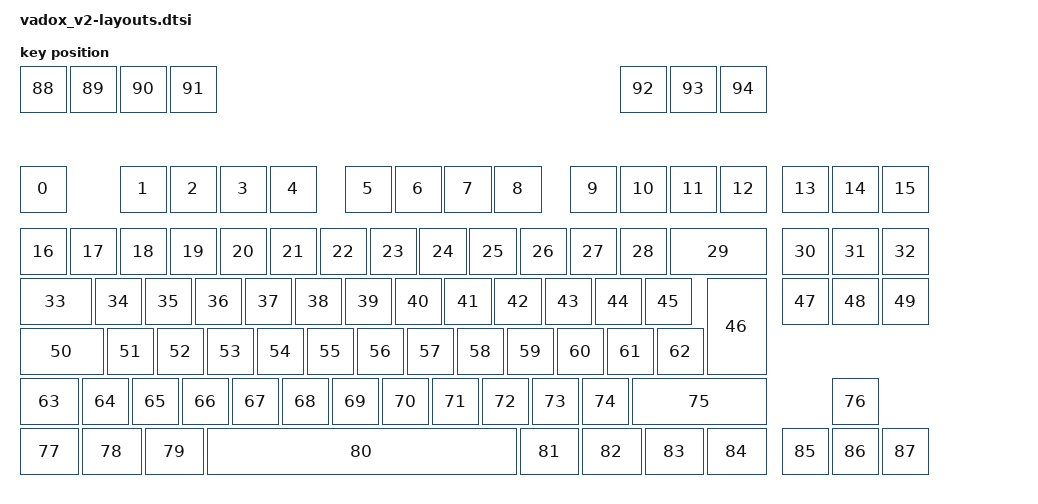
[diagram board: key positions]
#include <physical_layouts.dtsi>

/ {
    default_layout: default_layout {
        compatible = "zmk,physical-layout";
        display-name = "Default";
        transform = <&default_transform>;
        kscan = <&kscan0>;
        keys  //                     w   h    x    y     rot    rx    ry
            = <&key_physical_attrs 100 100    0  200       0     0     0>
            , <&key_physical_attrs 100 100  200  200       0     0     0>
            , <&key_physical_attrs 100 100  300  200       0     0     0>
            , <&key_physical_attrs 100 100  400  200       0     0     0>
            , <&key_physical_attrs 100 100  500  200       0     0     0>
            , <&key_physical_attrs 100 100  650  200       0     0     0>
            , <&key_physical_attrs 100 100  750  200       0     0     0>
            , <&key_physical_attrs 100 100  850  200       0     0     0>
            , <&key_physical_attrs 100 100  950  200       0     0     0>
            , <&key_physical_attrs 100 100 1100  200       0     0     0>
            , <&key_physical_attrs 100 100 1200  200       0     0     0>
            , <&key_physical_attrs 100 100 1300  200       0     0     0>
            , <&key_physical_attrs 100 100 1400  200       0     0     0>
            , <&key_physical_attrs 100 100 1525  200       0     0     0>
            , <&key_physical_attrs 100 100 1625  200       0     0     0>
            , <&key_physical_attrs 100 100 1725  200       0     0     0>
            , <&key_physical_attrs 100 100    0  325       0     0     0>
            , <&key_physical_attrs 100 100  100  325       0     0     0>
            , <&key_physical_attrs 100 100  200  325       0     0     0>
            , <&key_physical_attrs 100 100  300  325       0     0     0>
            , <&key_physical_attrs 100 100  400  325       0     0     0>
            , <&key_physical_attrs 100 100  500  325       0     0     0>
            , <&key_physical_attrs 100 100  600  325       0     0     0>
            , <&key_physical_attrs 100 100  700  325       0     0     0>
            , <&key_physical_attrs 100 100  800  325       0     0     0>
            , <&key_physical_attrs 100 100  900  325       0     0     0>
            , <&key_physical_attrs 100 100 1000  325       0     0     0>
            , <&key_physical_attrs 100 100 1100  325       0     0     0>
            , <&key_physical_attrs 100 100 1200  325       0     0     0>
            , <&key_physical_attrs 200 100 1300  325       0     0     0>
            , <&key_physical_attrs 100 100 1525  325       0     0     0>
            , <&key_physical_attrs 100 100 1625  325       0     0     0>
            , <&key_physical_attrs 100 100 1725  325       0     0     0>
            , <&key_physical_attrs 150 100    0  425       0     0     0>
            , <&key_physical_attrs 100 100  150  425       0     0     0>
            , <&key_physical_attrs 100 100  250  425       0     0     0>
            , <&key_physical_attrs 100 100  350  425       0     0     0>
            , <&key_physical_attrs 100 100  450  425       0     0     0>
            , <&key_physical_attrs 100 100  550  425       0     0     0>
            , <&key_physical_attrs 100 100  650  425       0     0     0>
            , <&key_physical_attrs 100 100  750  425       0     0     0>
            , <&key_physical_attrs 100 100  850  425       0     0     0>
            , <&key_physical_attrs 100 100  950  425       0     0     0>
            , <&key_physical_attrs 100 100 1050  425       0     0     0>
            , <&key_physical_attrs 100 100 1150  425       0     0     0>
            , <&key_physical_attrs 100 100 1250  425       0     0     0>
            , <&key_physical_attrs 125 200 1375  425       0     0     0>
            , <&key_physical_attrs 100 100 1525  425       0     0     0>
            , <&key_physical_attrs 100 100 1625  425       0     0     0>
            , <&key_physical_attrs 100 100 1725  425       0     0     0>
            , <&key_physical_attrs 175 100    0  525       0     0     0>
            , <&key_physical_attrs 100 100  175  525       0     0     0>
            , <&key_physical_attrs 100 100  275  525       0     0     0>
            , <&key_physical_attrs 100 100  375  525       0     0     0>
            , <&key_physical_attrs 100 100  475  525       0     0     0>
            , <&key_physical_attrs 100 100  575  525       0     0     0>
            , <&key_physical_attrs 100 100  675  525       0     0     0>
            , <&key_physical_attrs 100 100  775  525       0     0     0>
            , <&key_physical_attrs 100 100  875  525       0     0     0>
            , <&key_physical_attrs 100 100  975  525       0     0     0>
            , <&key_physical_attrs 100 100 1075  525       0     0     0>
            , <&key_physical_attrs 100 100 1175  525       0     0     0>
            , <&key_physical_attrs 100 100 1275  525       0     0     0>
            , <&key_physical_attrs 125 100    0  625       0     0     0>
            , <&key_physical_attrs 100 100  125  625       0     0     0>
            , <&key_physical_attrs 100 100  225  625       0     0     0>
            , <&key_physical_attrs 100 100  325  625       0     0     0>
            , <&key_physical_attrs 100 100  425  625       0     0     0>
            , <&key_physical_attrs 100 100  525  625       0     0     0>
            , <&key_physical_attrs 100 100  625  625       0     0     0>
            , <&key_physical_attrs 100 100  725  625       0     0     0>
            , <&key_physical_attrs 100 100  825  625       0     0     0>
            , <&key_physical_attrs 100 100  925  625       0     0     0>
            , <&key_physical_attrs 100 100 1025  625       0     0     0>
            , <&key_physical_attrs 100 100 1125  625       0     0     0>
            , <&key_physical_attrs 275 100 1225  625       0     0     0>
            , <&key_physical_attrs 100 100 1625  625       0     0     0>
            , <&key_physical_attrs 125 100    0  725       0     0     0>
            , <&key_physical_attrs 125 100  125  725       0     0     0>
            , <&key_physical_attrs 125 100  250  725       0     0     0>
            , <&key_physical_attrs 625 100  375  725       0     0     0>
            , <&key_physical_attrs 125 100 1000  725       0     0     0>
            , <&key_physical_attrs 125 100 1125  725       0     0     0>
            , <&key_physical_attrs 125 100 1250  725       0     0     0>
            , <&key_physical_attrs 125 100 1375  725       0     0     0>
            , <&key_physical_attrs 100 100 1525  725       0     0     0>
            , <&key_physical_attrs 100 100 1625  725       0     0     0>
            , <&key_physical_attrs 100 100 1725  725       0     0     0>
            , <&key_physical_attrs 100 100    0    0       0     0     0>
            , <&key_physical_attrs 100 100  100    0       0     0     0>
            , <&key_physical_attrs 100 100  200    0       0     0     0>
            , <&key_physical_attrs 100 100  300    0       0     0     0>
            , <&key_physical_attrs 100 100 1200    0       0     0     0>
            , <&key_physical_attrs 100 100 1300    0       0     0     0>
            , <&key_physical_attrs 100 100 1400    0       0     0     0>
            ;
    };
};
